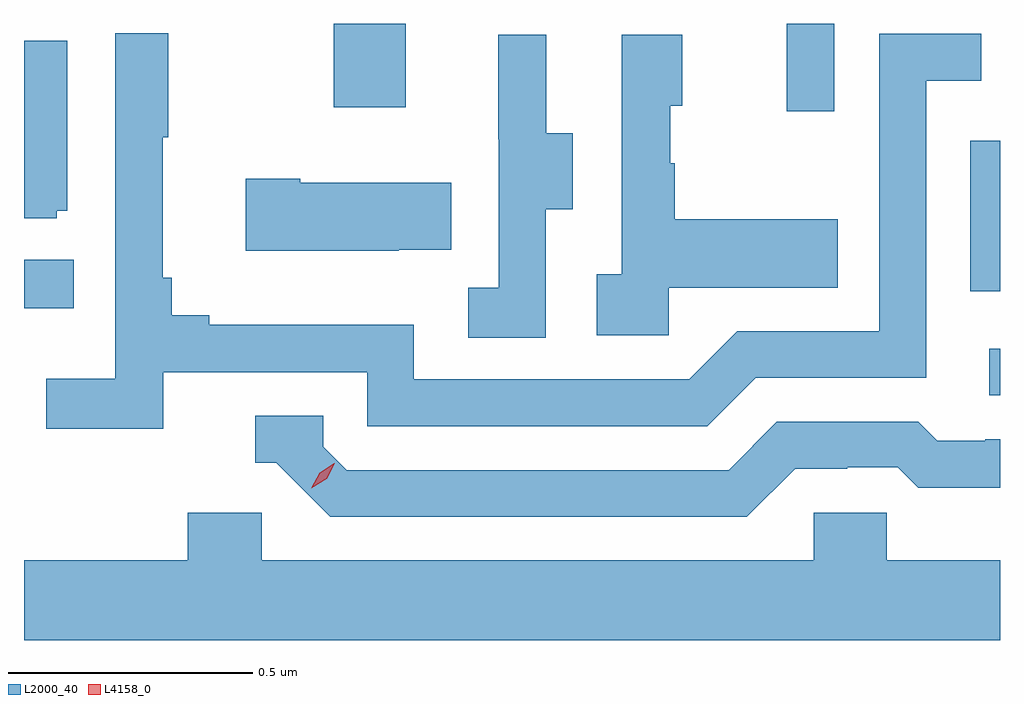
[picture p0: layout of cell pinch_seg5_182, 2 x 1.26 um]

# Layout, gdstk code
import gdstk
lib = gdstk.Library(unit=1e-6, precision=1e-09)
def R(c, l, rs):  # rectangles x0, y0, x1, y1
    for r in rs: c.add(gdstk.rectangle(r[:2], r[2:], *l))
def P(c, l, *ps):  # polygons
    for p in ps: c.add(gdstk.Polygon(p, *l))
L2000_40 = (2000, 40)
L4158_0 = (4158, 0)

pinch_seg5_182 = lib.new_cell('pinch_seg5_182')
R(pinch_seg5_182, L2000_40, [(1132.203,882.57,1132.225,882.666), (1130.225,882.749,1130.327,882.848), (1132.164,882.783,1132.225,883.092), (1131.788,883.152,1131.885,883.332), (1130.86,883.161,1131.007,883.332)])
P(pinch_seg5_182, L2000_40, [(1130.51,882.618),(1130.928,882.618),(1130.928,882.507),(1131.625,882.507),(1131.724,882.606),(1132.074,882.606),(1132.074,883.215),(1132.187,883.215),(1132.187,883.311),(1131.978,883.311),(1131.978,882.702),(1131.687,882.702),(1131.588,882.603),(1131.024,882.603),(1131.024,882.715),(1130.605,882.715),(1130.605,882.734),(1130.528,882.734),(1130.528,882.811),(1130.509,882.811),(1130.509,883.099),(1130.521,883.099),(1130.521,883.312),(1130.412,883.312),(1130.412,882.604),(1130.271,882.604),(1130.271,882.502),(1130.51,882.502)],
  [(1131.546,882.791),(1131.893,882.791),(1131.893,882.931),(1131.559,882.931),(1131.559,883.046),(1131.549,883.046),(1131.549,883.164),(1131.574,883.164),(1131.574,883.309),(1131.45,883.309),(1131.45,882.818),(1131.399,882.818),(1131.399,882.693),(1131.546,882.693)],
  [(1131.294,882.952),(1131.349,882.952),(1131.349,883.107),(1131.295,883.107),(1131.295,883.309),(1131.197,883.309),(1131.197,883.095),(1131.198,883.095),(1131.198,882.791),(1131.135,882.791),(1131.135,882.688),(1131.294,882.688)],
  [(1130.292,882.948),(1130.314,882.948),(1130.314,883.297),(1130.225,883.297),(1130.225,882.933),(1130.292,882.933)],
  [(1130.993,882.869),(1131.101,882.869),(1131.101,883.006),(1130.791,883.006),(1130.791,883.014),(1130.679,883.014),(1130.679,882.866),(1130.993,882.866)],
  [(1131.805,882.42),(1131.912,882.42),(1131.912,882.423),(1132.015,882.423),(1132.057,882.381),(1132.225,882.381),(1132.225,882.48),(1132.195,882.48),(1132.195,882.477),(1132.096,882.477),(1132.057,882.516),(1131.768,882.516),(1131.669,882.417),(1130.886,882.417),(1130.838,882.465),(1130.838,882.528),(1130.699,882.528),(1130.699,882.432),(1130.742,882.432),(1130.853,882.321),(1131.706,882.321)],
  [(1132.225,882.232),(1131.993,882.232),(1131.993,882.33),(1131.843,882.33),(1131.843,882.232),(1130.712,882.232),(1130.712,882.33),(1130.561,882.33),(1130.561,882.232),(1130.225,882.232),(1130.225,882.068),(1132.225,882.068)])
P(pinch_seg5_182, L4158_0, [(1130.814,882.38),(1130.814,882.38),(1130.831,882.412),(1130.861,882.431),(1130.862,882.431),(1130.862,882.431),(1130.845,882.399),(1130.814,882.38)])

lib.write_gds('pinch_seg5_182.gds')
